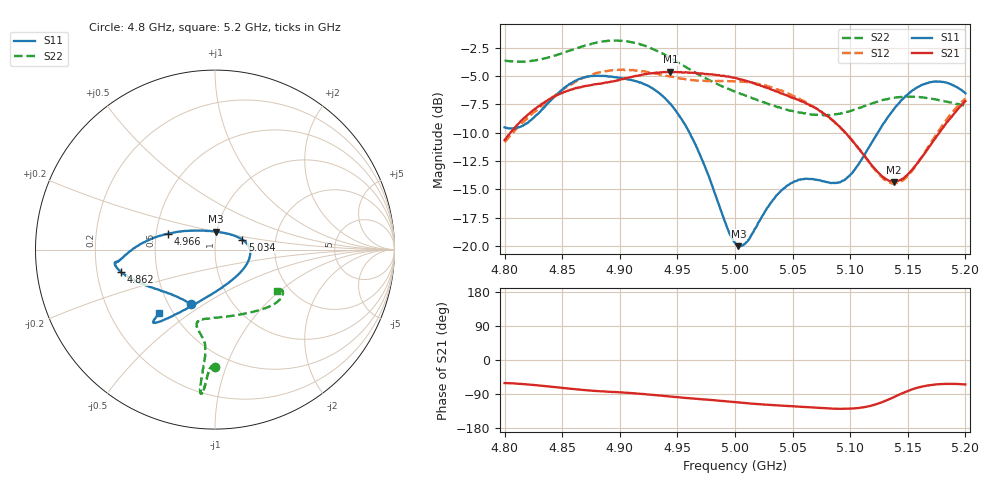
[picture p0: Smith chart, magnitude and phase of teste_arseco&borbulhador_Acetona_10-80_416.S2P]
! Network Analyzer HP8722D
! Hewlett-Packard
! Data name: Linha & Wilkinson
! Saver's name: Rodrigo Anjos
! Comments: Teste da utilização de aquisição
! continua pelo VNA HP8722D
! Time and date: 17/4/2025 17:49
!  Frequency  S11  S21  S12  S22
# HZ  S  MA R 50
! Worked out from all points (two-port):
!   401 points, 4.8 GHz to 5.2 GHz, reference 50 ohm
!   highest |S21| = -4.63 dB at 4.944 GHz (marker M1); lowest = -14.3 dB at 5.138 GHz (marker M2)
!   |S21| within 3 dB of the highest: 4.83 GHz to 5.066 GHz (235.1 MHz wide, 4.75 % of centre); 5.196089 GHz to end of sweep
!   lowest |S11| = -20.0 dB at 5.003 GHz (marker M3), VSWR 1.22, Z = 49.4 + j9.97 ohm
!   |S11| at or under -10 dB: 4.961 GHz to 5.124 GHz (163.4 MHz wide, 3.24 % of centre)
!   |S22| runs from -8.5 to -1.9 dB; largest |S21 - S12| = 0.88
!   S11 on the Smith chart (normalised r, x): 4.8 GHz: 0.64, -0.44; 4.862 GHz: 0.30, -0.11; 4.966 GHz: 0.58, +0.11; 5.034 GHz: 1.35, +0.15; 5.2 GHz: 0.42, -0.39
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4.8e9  0.3339 -113.8  0.2934 -60.9  0.2874 -175.1  0.6564 -90.0
4.818e9  0.3447 -132.8  0.3707 -64.1  0.3598 -173.9  0.6507 -91.7
4.862e9  0.5375 -166.4  0.4989 -77.3  0.5318 -177.1  0.7448 -94.0
4.867e9  0.5501 -168.4  0.5037 -78.9  0.547 -178.2  0.7589 -94.2
4.899e9  0.5523 -172.9  0.5385 -85.3  0.5984 175.5  0.8042 -95.5
4.934e9  0.4736 -178.9  0.5817 -93.7  0.5725 171.7  0.7171 -96.0
4.944e9  0.4235 176.5  0.5871 -96.5  0.5596 171.7  0.6752 -95.8
4.966e9  0.2778 161.5  0.5792 -102.3  0.5375 173.7  0.5796 -95.3
4.993e9  0.1214 119.8  0.5594 -109.1  0.5348 175.9  0.4962 -97.9
5e9  0.1035 98.4  0.5521 -111.4  0.5334 176.0  0.4801 -99.2
5.003e9  0.1 87.7  0.5464 -112.1  0.5307 175.9  0.4732 -100.2
5.011e9  0.1056 61.8  0.5326 -114.3  0.5278 175.8  0.4583 -101.8
5.034e9  0.1619 20.2  0.4852 -119.3  0.4973 174.6  0.4157 -103.8
5.05e9  0.1909 3.9  0.4517 -122.2  0.4603 174.0  0.3942 -99.7
5.067e9  0.1977 -14.3  0.4137 -125.0  0.4153 173.5  0.379 -90.5
5.085e9  0.19 -42.7  0.3577 -128.4  0.3573 173.7  0.3804 -76.9
5.097e9  0.1994 -67.4  0.3114 -128.6  0.3113 174.7  0.3905 -67.1
5.134e9  0.3779 -117.1  0.1938 -103.3  0.1909 -156.3  0.4475 -43.0
5.138e9  0.4032 -119.5  0.1919 -97.8  0.1893 -149.8  0.4504 -41.2
5.15e9  0.467 -124.8  0.207 -81.8  0.2039 -131.5  0.4562 -36.7
5.17e9  0.5282 -129.5  0.2798 -66.2  0.2856 -112.1  0.4468 -32.1
5.2e9  0.4718 -131.1  0.4359 -64.6  0.448 -106.6  0.4159 -33.6
